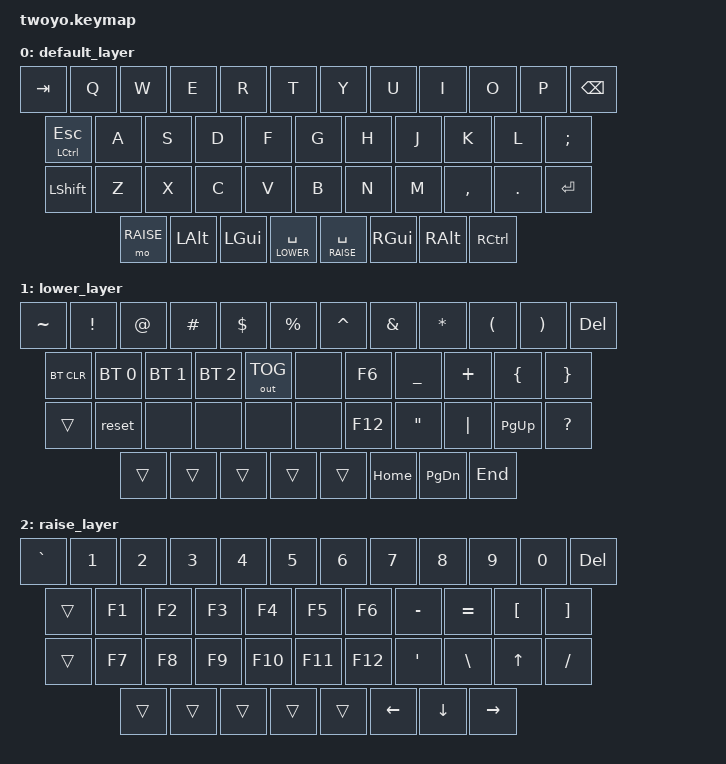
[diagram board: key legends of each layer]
/*
 * Copyright (c) 2020 The ZMK Contributors
 *
 * SPDX-License-Identifier: MIT
 */

#include <behaviors.dtsi>
#include <dt-bindings/zmk/keys.h>
#include <dt-bindings/zmk/bt.h>
#include <dt-bindings/zmk/outputs.h>

#define DEFAULT 0
#define LOWER   1
#define RAISE   2

/ {
        keymap {
                compatible = "zmk,keymap";

                default_layer {
// -----------------------------------------------------------------------------------------
// |  ESC |  Q  |  W  |  E  |  R  |  T  |   |  Y  |  U   |  I  |  O  |  P  | BKSP |
// | TAB  |  A  |  S  |  D  |  F  |  G  |    |  H  |  J   |  K  |  L  |   ENTER   |
// | SHFT |  Z  |  X  |  C  |  V  |  B  |     |  N  |  M   |  ,  |  .  |  LOWER   |
// | CTL | GUI | ALT |  | LT(RAISE,SPC) |        | SPC |       | ALT | GUI  | CTL |
                        bindings = <
   &kp TAB  &kp Q &kp W &kp E &kp R &kp T        &kp Y &kp U  &kp I     &kp O   &kp P   &kp BSPC
   &mt LCTRL ESC &kp A  &kp S &kp D &kp F &kp G   &kp H &kp J  &kp K     &kp L   &kp SEMI
   &kp LSHFT &kp Z &kp X &kp C &kp V &kp B       &kp N &kp M  &kp COMMA &kp DOT &kp ENTER
   &mo RAISE &kp LALT &kp LGUI &lt LOWER SPACE   &lt RAISE SPACE &kp RGUI &kp RALT &kp RCTRL
                        >;
                };
                lower_layer {
// -----------------------------------------------------------------------------------------
// | TILD  |  !  |  @  |  #  |  $  |  %  |     |  ^  |  &  |  *  |  (  |  )  | DEL |
// | BTCLR| BT0 | BT1 | BT2 | OUT |      |     | F6  |  _  |  +  |  {  |  }        |     
// |      | RST |     |     |     |      |     | F12 |  "  |     | PGUP|    ?      |  
// |      |     |     |     |     |      |     |     |     |     |     |     |     |
                        bindings = <
   &kp TILDE &kp EXCL &kp AT &kp HASH &kp DLLR &kp PRCNT &kp CARET  &kp AMPS &kp STAR &kp LPAR &kp RPAR &kp DEL
   &bt BT_CLR &bt BT_SEL 0 &bt BT_SEL 1 &bt BT_SEL 2 &out OUT_TOG &none     &kp F6 &kp UNDER &kp PLUS &kp LBRC &kp RBRC 
   &trans  &reset      &none       &none       &none       &none   &kp F12   &kp DQT   &kp PIPE    &kp PG_UP    &kp QMARK 
   &trans &trans  &trans       &trans                        &trans          &kp HOME   &kp PG_DN &kp END
                        >;
                };

                raise_layer {
// -----------------------------------------------------------------------------------------
// | GRV |  1  |  2  |  3  |  4 |  5    |     |  6  |  7  |  8  |  9  |  0  |  DEL    |
// |     | F1  | F2  | F3  | F4  |  F5  |     |  F6  | -  |  =  |  [  |  ]   |
// |     | F7  | F8  | F9  | F10 |  F11 |     |  F12 |  '  |     | up    |   /  | 
// |     |     |     |                  |     |           |  left   |  down   | right    |
                        bindings = <
   &kp GRAVE  &kp N1  &kp N2  &kp N3  &kp N4  &kp N5   &kp N6 &kp N7  &kp N8 &kp N9 &kp N0 &kp DEL
   &trans &kp F1  &kp F2  &kp F3    &kp F4  &kp F5      &kp F6 &kp MINUS &kp EQUAL &kp LBKT  &kp RBKT 
   &trans &kp F7    &kp F8  &kp F9    &kp F10    &kp F11      &kp F12    &kp SQT    &kp BSLH  &kp UP &kp FSLH
   &trans &trans &trans                     &trans          &trans              &kp LEFT &kp DOWN &kp RIGHT
                        >;
                };
        };
};
